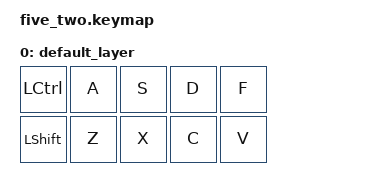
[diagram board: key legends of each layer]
/*
 * Copyright (c) 2020 The ZMK Contributors
 *
 * SPDX-License-Identifier: MIT
 */

#include <behaviors.dtsi>
#include <dt-bindings/zmk/keys.h>
#include <dt-bindings/zmk/bt.h>

/ {
        keymap {
                compatible = "zmk,keymap";

                default_layer {
// -----------------------------------------------------------------------------------------
// | CTRL |  A  |  S  |  D  |  F  |
// | SHFT |  Z  |  X  |  C  |  V  |
                        bindings = <
   &kp LCTRL &kp A &kp S &kp D &kp F 
   &kp LSHFT &kp Z &kp X &kp C &kp V 
                        >;
                };
        };
};
